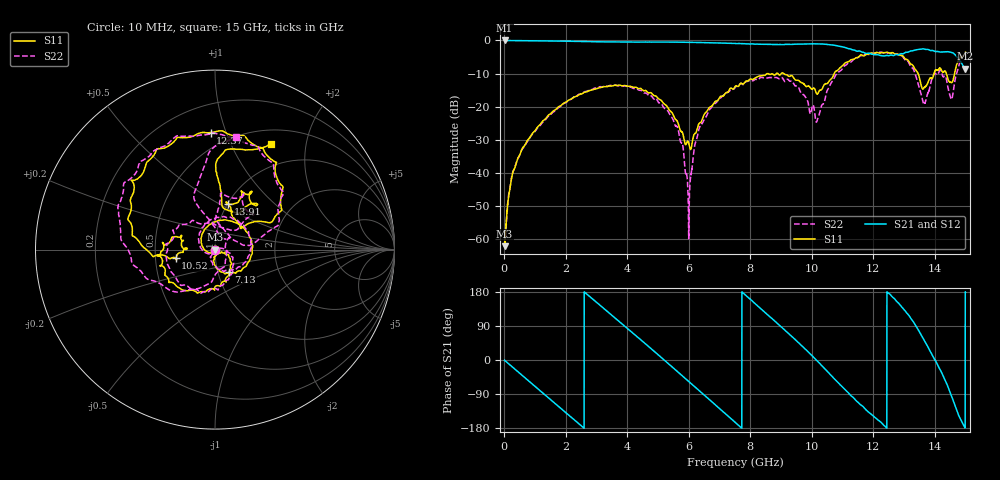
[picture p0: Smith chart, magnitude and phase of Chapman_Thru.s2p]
!	Fieldfox Controller
!	Chapman University - Class ENG398
!	Introduction to RF - DMG (2024)
!Created with skrf (http://scikit-rf.org).
# Hz S RI R 50.0
!freq ReS11 ImS11 ReS21 ImS21 ReS12 ImS12 ReS22 ImS22
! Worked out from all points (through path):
!   4001 points, 10 MHz to 15 GHz, reference 50 ohm
!   highest |S21| = -0.01 dB at 10 MHz (marker M1); lowest = -8.6 dB at 15 GHz (marker M2)
!   group delay of S21, straight-line fit = 212 ps
!   lowest |S11| = -62.2 dB at 10 MHz (marker M3), VSWR 1.00, Z = 50.1 + j0.0183 ohm
!   |S11| at or under -10 dB: start of sweep to 8.565 GHz; 9.085 GHz to 10.73 GHz (1.647 GHz wide, 16.6 % of centre); 13.46 GHz to 13.98 GHz (516.7 MHz wide, 3.77 % of centre)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
!   |S22| runs from -62.2 to -3.5 dB; largest |S21 - S12| = 0.026
!   S11 on the Smith chart (normalised r, x): 10 MHz: 1.00, +0.00; 7.13 GHz: 1.13, -0.28; 10.52 GHz: 0.64, -0.06; 12.37 GHz: 0.39, +0.88; 13.91 GHz: 1.00, +0.55; 15 GHz: 0.68, +1.44
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1e7  0.000756 0.000182  0.9992 -0.0128  0.9991 -0.0129  0.000737 0.000257
3.210425e8  -0.00244 -0.0111  0.9187 -0.3803  0.9184 -0.3797  -0.000471 -0.0112
1.26916e9  -0.0617 0.00226  0.03 -0.9839  0.0306 -0.9842  -0.0573 -0.0141
2.509582e9  0.00186 0.1552  -0.9602 -0.0996  -0.9591 -0.0996  -0.0407 0.1524
3.809965e9  0.207 0.00582  -0.1094 0.9378  -0.1092 0.9375  0.2008 0.0541
5.009165e9  0.0413 -0.1254  0.9192 0.2219  0.9176 0.2216  0.0362 -0.1113
5.634998e9  -0.00646 -0.0587  0.8102 -0.4812  0.8114 -0.4785  -0.0257 -0.0414
6.006e9  0.0167 -0.0215  0.5089 -0.7858  0.5098 -0.786  0.00161 -0.000576
6.35077e9  0.0546 -0.0151  0.1359 -0.92  0.1356 -0.9198  0.0484 0.0049
7.13025e9  0.0773 -0.1227  -0.6687 -0.6191  -0.67 -0.6186  0.1014 -0.109
7.505e9  0.0318 -0.198  -0.8668 -0.2465  -0.8685 -0.2459  0.0528 -0.1858
8.861595e9  -0.3065 -0.0898  -0.124 0.8598  -0.1295 0.8609  -0.2731 -0.0317
1.000458e10  -0.1764 0.0509  0.8677 0.1855  0.8747 0.1779  0.0732 0.0601
1.051799e10  -0.2198 -0.0471  0.746 -0.443  0.7416 -0.4451  -0.0183 -0.179
1.15598e10  -0.453 0.3669  -0.3031 -0.6229  -0.3068 -0.612  -0.5367 0.207
1.2373e10  -0.0241 0.6514  -0.5811 -0.058  -0.5808 -0.0695  -0.1032 0.6333
1.250416e10  0.0662 0.6476  -0.5865 0.0409  -0.5766 0.0391  0.00522 0.6469
1.340356e10  0.315 0.1532  0.0241 0.7209  0.0266 0.722  0.2627 0.0739
1.36584e10  0.1367 0.1385  0.4562 0.585  0.4646 0.5791  0.0795 0.0775
1.390948e10  0.0714 0.2558  0.6808 0.1825  0.676 0.1843  0.0298 0.2601
1.449409e10  0.1147 0.2039  0.0767 -0.6648  0.0832 -0.6673  0.1013 0.1067
1.5e10  0.3122 0.5878  -0.3734 0.00489  -0.3813 0.00925  0.1193 0.6265
